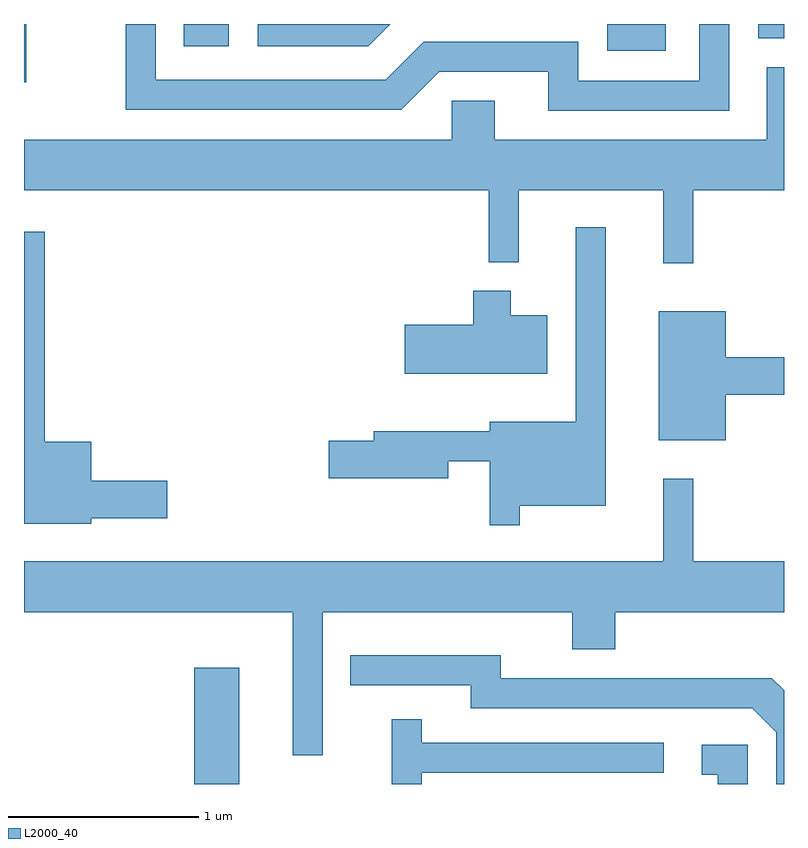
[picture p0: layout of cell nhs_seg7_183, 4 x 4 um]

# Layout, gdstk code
import gdstk
lib = gdstk.Library(unit=1e-6, precision=1e-09)
def R(c, l, rs):  # rectangles x0, y0, x1, y1
    for r in rs: c.add(gdstk.rectangle(r[:2], r[2:], *l))
def P(c, l, *ps):  # polygons
    for p in ps: c.add(gdstk.Polygon(p, *l))
L2000_40 = (2000, 40)

nhs_seg7_183 = lib.new_cell('nhs_seg7_183')
R(nhs_seg7_183, L2000_40, [(190.506,1762.252,190.744,1762.864), (189.611,1765.946,189.624,1766.252), (192.681,1766.111,192.989,1766.252), (190.453,1766.136,190.689,1766.252), (193.476,1766.176,193.611,1766.252)])
P(nhs_seg7_183, L2000_40, [(193.324,1766.252),(193.166,1766.252),(193.166,1765.954),(192.529,1765.954),(192.529,1766.159),(191.714,1766.159),(191.514,1765.959),(190.304,1765.959),(190.304,1766.252),(190.146,1766.252),(190.146,1765.801),(191.597,1765.801),(191.797,1766.001),(192.371,1766.001),(192.371,1765.796),(193.324,1765.796)],
  [(191.538,1766.252),(190.841,1766.252),(190.841,1766.136),(191.422,1766.136)],
  [(193.134,1765.376),(193.611,1765.376),(193.611,1766.024),(193.521,1766.024),(193.521,1765.644),(192.089,1765.644),(192.089,1765.849),(191.861,1765.849),(191.861,1765.644),(189.611,1765.644),(189.611,1765.376),(192.056,1765.376),(192.056,1764.998),(192.214,1764.998),(192.214,1765.376),(192.976,1765.376),(192.976,1764.993),(193.134,1764.993)],
  [(192.219,1763.716),(192.674,1763.716),(192.674,1765.183),(192.516,1765.183),(192.516,1764.159),(192.061,1764.159),(192.061,1764.109),(191.451,1764.109),(191.451,1764.059),(191.216,1764.059),(191.216,1763.861),(191.844,1763.861),(191.844,1763.951),(192.061,1763.951),(192.061,1763.613),(192.219,1763.613)],
  [(189.964,1763.651),(190.364,1763.651),(190.364,1763.849),(189.964,1763.849),(189.964,1764.054),(189.719,1764.054),(189.719,1765.158),(189.611,1765.158),(189.611,1763.621),(189.964,1763.621)],
  [(192.364,1764.719),(192.174,1764.719),(192.174,1764.849),(191.976,1764.849),(191.976,1764.669),(191.616,1764.669),(191.616,1764.411),(192.364,1764.411)],
  [(193.304,1764.301),(193.611,1764.301),(193.611,1764.499),(193.304,1764.499),(193.304,1764.739),(192.951,1764.739),(192.951,1764.061),(193.304,1764.061)],
  [(191.184,1763.156),(192.496,1763.156),(192.496,1762.961),(192.724,1762.961),(192.724,1763.156),(193.611,1763.156),(193.611,1763.424),(193.134,1763.424),(193.134,1763.858),(192.976,1763.858),(192.976,1763.424),(189.611,1763.424),(189.611,1763.156),(191.026,1763.156),(191.026,1762.403),(191.184,1762.403)],
  [(193.611,1762.745),(193.547,1762.809),(192.119,1762.809),(192.119,1762.929),(191.328,1762.929),(191.328,1762.771),(191.961,1762.771),(191.961,1762.651),(193.444,1762.651),(193.571,1762.524),(193.571,1762.252),(193.611,1762.252)],
  [(191.704,1762.311),(192.978,1762.311),(192.978,1762.469),(191.704,1762.469),(191.704,1762.593),(191.546,1762.593),(191.546,1762.252),(191.704,1762.252)],
  [(193.419,1762.459),(193.178,1762.459),(193.178,1762.301),(193.261,1762.301),(193.261,1762.252),(193.419,1762.252)])

lib.write_gds('nhs_seg7_183.gds')
